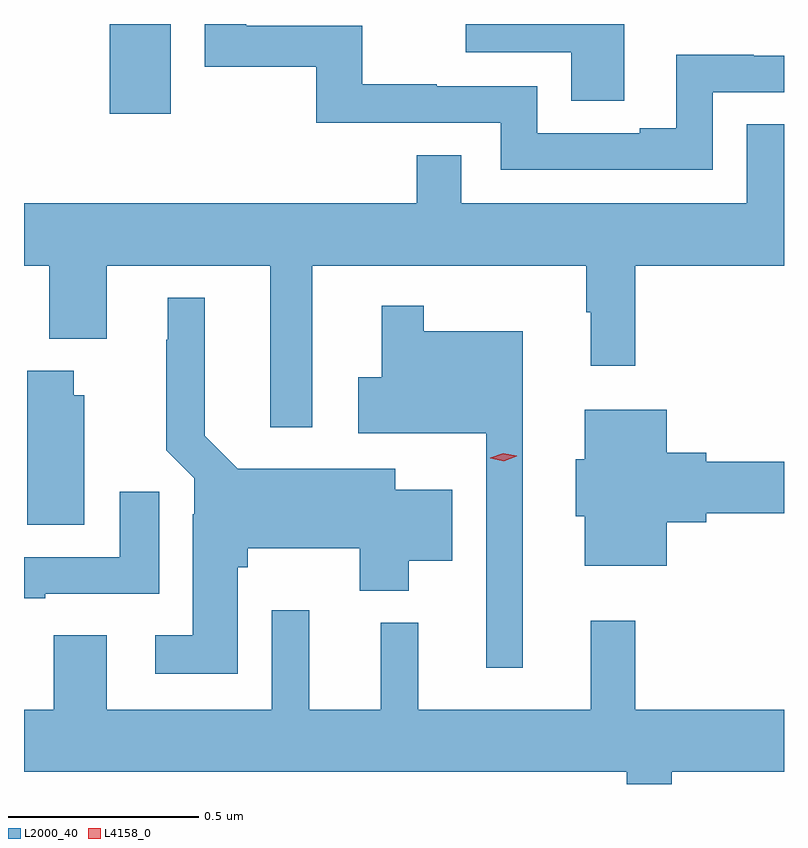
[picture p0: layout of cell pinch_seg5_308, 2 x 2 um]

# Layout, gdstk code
import gdstk
lib = gdstk.Library(unit=1e-6, precision=1e-09)
def R(c, l, rs):  # rectangles x0, y0, x1, y1
    for r in rs: c.add(gdstk.rectangle(r[:2], r[2:], *l))
def P(c, l, *ps):  # polygons
    for p in ps: c.add(gdstk.Polygon(p, *l))
L2000_40 = (2000, 40)
L4158_0 = (4158, 0)

pinch_seg5_308 = lib.new_cell('pinch_seg5_308')
R(pinch_seg5_308, L2000_40, [(888.632,882.468,888.793,882.704)])
P(pinch_seg5_308, L2000_40, [(889.987,882.704),(889.57,882.704),(889.57,882.63),(889.847,882.63),(889.847,882.502),(889.987,882.502)],
  [(890.22,882.525),(890.407,882.525),(890.407,882.621),(890.328,882.621),(890.328,882.623),(890.123,882.623),(890.123,882.43),(890.027,882.43),(890.027,882.417),(889.758,882.417),(889.758,882.54),(889.493,882.54),(889.493,882.545),(889.297,882.545),(889.297,882.7),(888.992,882.7),(888.992,882.704),(888.882,882.704),(888.882,882.591),(889.176,882.591),(889.176,882.444),(889.662,882.444),(889.662,882.321),(890.22,882.321)],
  [(889.165,882.068),(889.887,882.068),(889.887,881.945),(889.898,881.945),(889.898,881.805),(890.015,881.805),(890.015,882.068),(890.407,882.068),(890.407,882.44),(890.309,882.44),(890.309,882.232),(889.557,882.232),(889.557,882.359),(889.441,882.359),(889.441,882.232),(888.407,882.232),(888.407,882.068),(888.473,882.068),(888.473,881.876),(888.625,881.876),(888.625,882.068),(889.055,882.068),(889.055,881.643),(889.165,881.643)],
  [(888.97,881.274),(888.996,881.274),(888.996,881.324),(889.291,881.324),(889.291,881.213),(889.42,881.213),(889.42,881.291),(889.534,881.291),(889.534,881.479),(889.384,881.479),(889.384,881.533),(888.969,881.533),(888.883,881.62),(888.883,881.983),(888.785,881.983),(888.785,881.873),(888.781,881.873),(888.781,881.582),(888.855,881.508),(888.855,881.414),(888.851,881.414),(888.851,881.095),(888.753,881.095),(888.753,880.994),(888.97,880.994)],
  [(889.72,881.896),(889.459,881.896),(889.459,881.962),(889.349,881.962),(889.349,881.775),(889.286,881.775),(889.286,881.627),(889.623,881.627),(889.623,881.01),(889.72,881.01)],
  [(888.565,881.727),(888.538,881.727),(888.538,881.791),(888.416,881.791),(888.416,881.386),(888.565,881.386)],
  [(890.098,881.393),(890.203,881.393),(890.203,881.416),(890.407,881.416),(890.407,881.552),(890.203,881.552),(890.203,881.576),(890.098,881.576),(890.098,881.689),(889.883,881.689),(889.883,881.559),(889.859,881.559),(889.859,881.409),(889.883,881.409),(889.883,881.279),(890.098,881.279)],
  [(888.463,881.205),(888.763,881.205),(888.763,881.473),(888.659,881.473),(888.659,881.301),(888.407,881.301),(888.407,881.193),(888.463,881.193)],
  [(890.111,880.736),(890.407,880.736),(890.407,880.9),(890.015,880.9),(890.015,881.134),(889.898,881.134),(889.898,880.9),(889.445,880.9),(889.445,881.128),(889.346,881.128),(889.346,880.9),(889.157,880.9),(889.157,881.161),(889.059,881.161),(889.059,880.9),(888.625,880.9),(888.625,881.095),(888.485,881.095),(888.485,880.9),(888.407,880.9),(888.407,880.736),(889.993,880.736),(889.993,880.704),(890.111,880.704)])
P(pinch_seg5_308, L4158_0, [(889.67,881.554),(889.634,881.561),(889.634,881.562),(889.634,881.562),(889.668,881.574),(889.704,881.568),(889.704,881.567),(889.704,881.567)])

lib.write_gds('pinch_seg5_308.gds')
